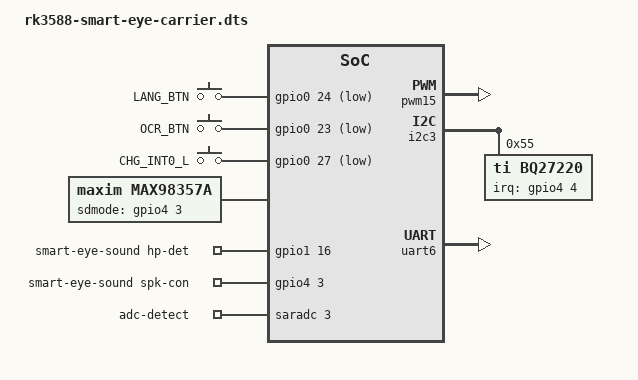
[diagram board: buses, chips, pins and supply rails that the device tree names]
/dts-v1/;
/plugin/;

/ {
	metadata {
		title = "Smart Eye Custom Carrier Board";
		compatible = "radxa,cm5-io";
		category = "misc";
		exclusive = "GPIO4_B3\0GPIO3_B7\0GPIO3_C0\0GPIO4_A4\0GPIO1_D1\0GPIO1_D0\0GPIO0_D3\0GPIO0_D0\0GPIO0_C7\0GPIO4_A3\0GPIO1_C0";
		description = "Enable peripherals for Smart Eye custom carrier board:\n  - PWM15-M1 (GPIO4_B3) vibration motor\n  - I2C3-M1 (GPIO3_B7 SCL / GPIO3_C0 SDA) BQ27220 fuel gauge\n  - GPIO4_A4 fuel gauge interrupt\n  - UART6-M2 (GPIO1_D1 TX / GPIO1_D0 RX) serial\n  - GPIO0_D3 CHG_INT0_L charger interrupt\n  - GPIO0_D0 LANG_BTN, GPIO0_C7 OCR_BTN\n  - Audio: ES8316 headphone + MAX98357A speaker on I2S0\n  - GPIO4_A3 speaker amp enable, GPIO1_C0 headphone detect";
	};

	/*
	 * PWM15-M1: Vibration motor on GPIO4_B3.
	 *
	 * No gpio-hog here -- it conflicts with the PWM pinctrl claim
	 * on the same pin, causing neither driver to claim it.
	 *
	 * IMPORTANT: A gate pull-down resistor (47K-100K to GND) is
	 * required on the MOSFET gate to keep the motor off during
	 * early boot before the PWM driver loads.
	 */
	fragment@0 {
		target = <&pwm15>;
		__overlay__ {
			status = "okay";
			pinctrl-names = "default";
			pinctrl-0 = <&pwm15m1_pins>;
		};
	};

	/* I2C3-M1: BQ27220YZFR fuel gauge on GPIO3_B7 (SCL) / GPIO3_C0 (SDA) */
	fragment@1 {
		target = <&i2c3>;
		__overlay__ {
			status = "okay";
			pinctrl-names = "default";
			pinctrl-0 = <&i2c3m1_xfer>;
			#address-cells = <1>;
			#size-cells = <0>;

			bq27220: fuel-gauge@55 {
				compatible = "ti,bq27220";
				reg = <0x55>;
				interrupt-parent = <&gpio4>;
				interrupts = <4 2>; /* GPIO4_A4, IRQ_TYPE_EDGE_FALLING */
			};
		};
	};

	/* GPIO pin configurations for interrupts, buttons, and audio */
	fragment@2 {
		target = <&pinctrl>;
		__overlay__ {
			bq27220 {
				bq27220_int: bq27220-int {
					rockchip,pins = <4 4 0 &pcfg_pull_up>;
				};
			};
			charger {
				chg_int0: chg-int0 {
					rockchip,pins = <0 27 0 &pcfg_pull_up>;
				};
			};
			buttons {
				lang_btn: lang-btn {
					rockchip,pins = <0 24 0 &pcfg_pull_up>;
				};
				ocr_btn: ocr-btn {
					rockchip,pins = <0 23 0 &pcfg_pull_up>;
				};
			};
			audio-amp {
				amp_sd_pin: amp-sd-pin {
					rockchip,pins = <4 3 0 &pcfg_pull_none>;
				};
			};
		};
	};

	/* UART6-M2: Serial port on GPIO1_D1 (TX) / GPIO1_D0 (RX) */
	fragment@3 {
		target = <&uart6>;
		__overlay__ {
			status = "okay";
			pinctrl-names = "default";
			pinctrl-0 = <&uart6m2_xfer>;
		};
	};

	/* GPIO keys: LANG_BTN (GPIO0_D0) and OCR_BTN (GPIO0_C7) */
	fragment@4 {
		target-path = "/";
		__overlay__ {
			smart-eye-keys {
				compatible = "gpio-keys";
				pinctrl-names = "default";
				pinctrl-0 = <&lang_btn &ocr_btn>;

				lang-button {
					label = "LANG_BTN";
					linux,code = <0x100>; /* BTN_MISC */
					gpios = <&gpio0 24 1>; /* GPIO0_D0, active low */
					debounce-interval = <50>;
				};

				ocr-button {
					label = "OCR_BTN";
					linux,code = <0x101>; /* BTN_1 */
					gpios = <&gpio0 23 1>; /* GPIO0_C7, active low */
					debounce-interval = <50>;
				};
			};

			/* CHG_INT0_L: Charger interrupt on GPIO0_D3, active low */
			smart-eye-chg-int {
				compatible = "gpio-keys";
				pinctrl-names = "default";
				pinctrl-0 = <&chg_int0>;

				chg-interrupt {
					label = "CHG_INT0_L";
					linux,code = <0x102>; /* BTN_2 */
					gpios = <&gpio0 27 1>; /* GPIO0_D3, active low */
					debounce-interval = <10>;
				};
			};

			/*
			 * MAX98357A speaker amplifier (I2S DAC, no I2C).
			 * SD_MODE on GPIO4_A3 controls enable/shutdown.
			 */
			max98357a: max98357a {
				compatible = "maxim,max98357a";
				#sound-dai-cells = <0>;
				sdmode-gpios = <&gpio4 3 0>; /* GPIO4_A3, active high */
				sdmode-delay = <100>;
			};
		};
	};

	/*
	 * Disable the CM5-IO es8316-sound card.
	 * Replaced by a dual-codec card with ES8316 + MAX98357A.
	 */
	fragment@5 {
		target-path = "/es8316-sound";
		__overlay__ {
			status = "disabled";
		};
	};

	/*
	 * Dual-codec sound card: ES8316 + MAX98357A on I2S0.
	 */
	fragment@6 {
		target-path = "/";
		__overlay__ {
			smart-eye-sound {
				status = "okay";
				compatible = "rockchip,multicodecs-card";
				rockchip,card-name = "Smart-Eye-Audio";
				rockchip,format = "i2s";
				rockchip,mclk-fs = <256>;
				rockchip,cpu = <&i2s0_8ch>;
				rockchip,codec = <&es8316>, <&max98357a>;
				pinctrl-names = "default";
				pinctrl-0 = <&hp_det &amp_sd_pin>;

				hp-det-gpio = <&gpio1 16 0>; /* GPIO1_C0, active high */
				spk-con-gpio = <&gpio4 3 0>; /* GPIO4_A3, active high */

				io-channels = <&saradc 3>;
				io-channel-names = "adc-detect";
				keyup-threshold-microvolt = <1800000>;
				poll-interval = <100>;

				play-pause-key {
					label = "playpause";
					linux,code = <164>; /* KEY_PLAYPAUSE */
					press-threshold-microvolt = <2000>;
				};
			};
		};
	};
};
